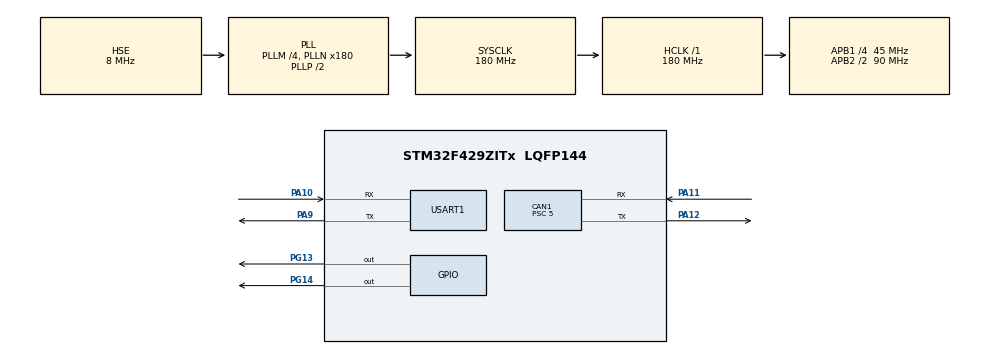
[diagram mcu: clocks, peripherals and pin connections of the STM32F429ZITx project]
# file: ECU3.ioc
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CAN1.BS1=CAN_BS1_9TQ
CAN1.BS2=CAN_BS2_8TQ
CAN1.CalculateBaudRate=500000
CAN1.CalculateTimeBit=2000
CAN1.CalculateTimeQuantum=111.11111111111111
CAN1.NART=ENABLE
CAN1.Prescaler=5
Mcu.Family=STM32F4
Mcu.Name=STM32F429ZITx
Mcu.Package=LQFP144
NVIC.CAN1_RX0_IRQn=true\:0\:0\:false\:false\:true\:true\:true\:true
NVIC.PriorityGroup=NVIC_PRIORITYGROUP_4
PA10.Mode=Asynchronous
PA10.Signal=USART1_RX
PA11.Mode=CAN_Activate
PA11.Signal=CAN1_RX
PA12.Mode=CAN_Activate
PA12.Signal=CAN1_TX
PA9.Mode=Asynchronous
PA9.Signal=USART1_TX
PG13.Signal=GPIO_Output
PG14.Signal=GPIO_Output
PH0/OSC_IN.Mode=HSE-External-Oscillator
PH0/OSC_IN.Signal=RCC_OSC_IN
PH1/OSC_OUT.Mode=HSE-External-Oscillator
PH1/OSC_OUT.Signal=RCC_OSC_OUT
ProjectManager.HeapSize=0x200
ProjectManager.StackSize=0x400
ProjectManager.TargetToolchain=STM32CubeIDE
RCC.48MHZClocksFreq_Value=90000000
RCC.AHBFreq_Value=180000000
RCC.APB1CLKDivider=RCC_HCLK_DIV4
RCC.APB1Freq_Value=45000000
RCC.APB1TimFreq_Value=90000000
RCC.APB2CLKDivider=RCC_HCLK_DIV2
RCC.APB2Freq_Value=90000000
RCC.APB2TimFreq_Value=180000000
RCC.CortexFreq_Value=180000000
RCC.HCLKFreq_Value=180000000
RCC.HSE_VALUE=8000000
RCC.HSI_VALUE=16000000
RCC.LSE_VALUE=32768
RCC.PLLM=4
RCC.PLLN=180
RCC.PLLSourceVirtual=RCC_PLLSOURCE_HSE
RCC.SYSCLKFreq_VALUE=180000000
RCC.SYSCLKSource=RCC_SYSCLKSOURCE_PLLCLK
RCC.VCOOutputFreq_Value=360000000
USART1.VirtualMode=VM_ASYNC
board=custom

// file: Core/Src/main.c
/* USER CODE BEGIN Header */
/**
  ******************************************************************************
  * @file           : main.c
  * @brief          : Main program body
  ******************************************************************************
  * @attention
  *
  * Copyright (c) 2026 STMicroelectronics.
  * All rights reserved.
  *
  * This software is licensed under terms that can be found in the LICENSE file
  * in the root directory of this software component.
  * If no LICENSE file comes with this software, it is provided AS-IS.
  *
  ******************************************************************************
  */
/* USER CODE END Header */
#include "main.h"

CAN_HandleTypeDef hcan1;

UART_HandleTypeDef huart1;

void SystemClock_Config(void);
static void MX_GPIO_Init(void);
static void MX_CAN1_Init(void);
static void MX_USART1_UART_Init(void);

/* USER CODE BEGIN 0 */
CAN_RxHeaderTypeDef RxHeader;
uint32_t TxMailbox;

uint8_t TxData[8], RxData[8];
uint8_t count, temp[100];

uint8_t indicator[8];
uint8_t speed[8];
uint8_t temperature[8];
uint8_t rpm[8];
uint8_t gear[8];
uint8_t time[10];
uint8_t *data[6] = {time, speed, rpm, gear, temp, indicator};

void HAL_CAN_RxFifo0MsgPendingCallback(CAN_HandleTypeDef *hcan){
    if (HAL_CAN_GetRxMessage(hcan, CAN_RX_FIFO0, &RxHeader, RxData) == HAL_OK)
    {
    	HAL_GPIO_TogglePin(GPIOG, GPIO_PIN_13); // Toggle Green LED

    	if (RxHeader.StdId == 0x100) //"temp"
    	{
    		sprintf(temp, "%s", RxData);
    	}
    	else if (RxHeader.StdId == 0x200) //"speed"
    	{
    		sprintf(speed, "%s", RxData);
    	}
    	else if (RxHeader.StdId == 0x300) //"indicator"
    	{
    		sprintf(indicator, "%s", RxData);
    	}
    	else if (RxHeader.StdId == 0x600) //"rpm"
    	{
    		sprintf(rpm, "%s", RxData);
    	}
    	else if (RxHeader.StdId == 0x500) //"time"
    	{
    	    sprintf(time, "%s", RxData);
    	    time[8] = '\0';
    	}
    	else if (RxHeader.StdId == 0x400) //"gear"
    	{
    		sprintf(gear, "%s", RxData);
    	}
    }
}
/* USER CODE END 0 */

int main(void)
{

  /* MCU Configuration--------------------------------------------------------*/

  /* Reset of all peripherals, Initializes the Flash interface and the Systick. */
  HAL_Init();

  /* Configure the system clock */
  SystemClock_Config();

  /* Initialize all configured peripherals */
  MX_GPIO_Init();
  MX_CAN1_Init();
  MX_USART1_UART_Init();
  /* USER CODE BEGIN 2 */
  HAL_CAN_Start(&hcan1);
  HAL_CAN_ActivateNotification(&hcan1, CAN_IT_RX_FIFO0_MSG_PENDING);
  /* USER CODE END 2 */

  /* Infinite loop */
  /* USER CODE BEGIN WHILE */
  uint8_t buf2[100] = "TIME\t\tSPEED\tRPM\tGEAR\tTEMP\tINDICATOR\r\n";
  HAL_UART_Transmit(&huart1,buf2,strlen(buf2),HAL_MAX_DELAY);
while (1)
  {
    /* USER CODE END WHILE */

    /* USER CODE BEGIN 3 */
	for(uint8_t i = 0; i < 6; i++)
	{
		HAL_UART_Transmit(&huart1, data[i], strlen(data[i]), HAL_MAX_DELAY);
		HAL_UART_Transmit(&huart1, "\t", 1, HAL_MAX_DELAY);
	}
	HAL_UART_Transmit(&huart1, "\r", 1, HAL_MAX_DELAY);
	HAL_GPIO_TogglePin(GPIOG, GPIO_PIN_14);   //LED is an indication for data getting transmitted to ECU3.
	HAL_Delay(1000);    //printing every 1 sec
  }
  /* USER CODE END 3 */
}

void SystemClock_Config(void)
{
  RCC_OscInitTypeDef RCC_OscInitStruct = {0};
  RCC_ClkInitTypeDef RCC_ClkInitStruct = {0};

  /** Configure the main internal regulator output voltage
  */
  __HAL_RCC_PWR_CLK_ENABLE();
  __HAL_PWR_VOLTAGESCALING_CONFIG(PWR_REGULATOR_VOLTAGE_SCALE1);

  /** Initializes the RCC Oscillators according to the specified parameters
  * in the RCC_OscInitTypeDef structure.
  */
  RCC_OscInitStruct.OscillatorType = RCC_OSCILLATORTYPE_HSE;
  RCC_OscInitStruct.HSEState = RCC_HSE_ON;
  RCC_OscInitStruct.PLL.PLLState = RCC_PLL_ON;
  RCC_OscInitStruct.PLL.PLLSource = RCC_PLLSOURCE_HSE;
  RCC_OscInitStruct.PLL.PLLM = 4;
  RCC_OscInitStruct.PLL.PLLN = 180;
  RCC_OscInitStruct.PLL.PLLP = RCC_PLLP_DIV2;
  RCC_OscInitStruct.PLL.PLLQ = 4;
  if (HAL_RCC_OscConfig(&RCC_OscInitStruct) != HAL_OK)
  {
    Error_Handler();
  }

  /** Activate the Over-Drive mode
  */
  if (HAL_PWREx_EnableOverDrive() != HAL_OK)
  {
    Error_Handler();
  }

  /** Initializes the CPU, AHB and APB buses clocks
  */
  RCC_ClkInitStruct.ClockType = RCC_CLOCKTYPE_HCLK|RCC_CLOCKTYPE_SYSCLK
                              |RCC_CLOCKTYPE_PCLK1|RCC_CLOCKTYPE_PCLK2;
  RCC_ClkInitStruct.SYSCLKSource = RCC_SYSCLKSOURCE_PLLCLK;
  RCC_ClkInitStruct.AHBCLKDivider = RCC_SYSCLK_DIV1;
  RCC_ClkInitStruct.APB1CLKDivider = RCC_HCLK_DIV4;
  RCC_ClkInitStruct.APB2CLKDivider = RCC_HCLK_DIV2;

  if (HAL_RCC_ClockConfig(&RCC_ClkInitStruct, FLASH_LATENCY_5) != HAL_OK)
  {
    Error_Handler();
  }
}

static void MX_CAN1_Init(void)
{

  hcan1.Instance = CAN1;
  hcan1.Init.Prescaler = 5;
  hcan1.Init.Mode = CAN_MODE_NORMAL;
  hcan1.Init.SyncJumpWidth = CAN_SJW_1TQ;
  hcan1.Init.TimeSeg1 = CAN_BS1_9TQ;
  hcan1.Init.TimeSeg2 = CAN_BS2_8TQ;
  hcan1.Init.TimeTriggeredMode = DISABLE;
  hcan1.Init.AutoBusOff = DISABLE;
  hcan1.Init.AutoWakeUp = DISABLE;
  hcan1.Init.AutoRetransmission = ENABLE;
  hcan1.Init.ReceiveFifoLocked = DISABLE;
  hcan1.Init.TransmitFifoPriority = DISABLE;
  if (HAL_CAN_Init(&hcan1) != HAL_OK)
  {
    Error_Handler();
  }
  /* USER CODE BEGIN CAN1_Init 2 */
  CAN_FilterTypeDef sFilterConfig;

      sFilterConfig.FilterActivation = ENABLE;
      sFilterConfig.FilterBank = 0;
      sFilterConfig.FilterFIFOAssignment = CAN_FILTER_FIFO0;

      // For a 32-bit filter to accept StdId 0x103:
      // The StdId occupies bits [31:21] of the 32-bit register.
      sFilterConfig.FilterIdHigh = 0x0000;
      sFilterConfig.FilterIdLow = 0x0000;

      // To accept ONLY 0x103, set mask to all 1s in those positions (0x7FF << 5)
      // To accept EVERYTHING for testing, set mask to 0
      sFilterConfig.FilterMaskIdHigh = 0x0000;
      sFilterConfig.FilterMaskIdLow = 0x0000;

      sFilterConfig.FilterMode = CAN_FILTERMODE_IDMASK;
      sFilterConfig.FilterScale = CAN_FILTERSCALE_32BIT;
      sFilterConfig.SlaveStartFilterBank = 14;

      if (HAL_CAN_ConfigFilter(&hcan1, &sFilterConfig) != HAL_OK) {
          Error_Handler();
      }
  /* USER CODE END CAN1_Init 2 */

}

static void MX_USART1_UART_Init(void)
{

  huart1.Instance = USART1;
  huart1.Init.BaudRate = 115200;
  huart1.Init.WordLength = UART_WORDLENGTH_8B;
  huart1.Init.StopBits = UART_STOPBITS_1;
  huart1.Init.Parity = UART_PARITY_NONE;
  huart1.Init.Mode = UART_MODE_TX_RX;
  huart1.Init.HwFlowCtl = UART_HWCONTROL_NONE;
  huart1.Init.OverSampling = UART_OVERSAMPLING_16;
  if (HAL_UART_Init(&huart1) != HAL_OK)
  {
    Error_Handler();
  }

}

static void MX_GPIO_Init(void)
{
  GPIO_InitTypeDef GPIO_InitStruct = {0};

  /* GPIO Ports Clock Enable */
  __HAL_RCC_GPIOH_CLK_ENABLE();
  __HAL_RCC_GPIOA_CLK_ENABLE();
  __HAL_RCC_GPIOG_CLK_ENABLE();

  /*Configure GPIO pin Output Level */
  HAL_GPIO_WritePin(GPIOG, GPIO_PIN_13|GPIO_PIN_14, GPIO_PIN_RESET);

  /*Configure GPIO pins : PG13 PG14 */
  GPIO_InitStruct.Pin = GPIO_PIN_13|GPIO_PIN_14;
  GPIO_InitStruct.Mode = GPIO_MODE_OUTPUT_PP;
  GPIO_InitStruct.Pull = GPIO_NOPULL;
  GPIO_InitStruct.Speed = GPIO_SPEED_FREQ_LOW;
  HAL_GPIO_Init(GPIOG, &GPIO_InitStruct);

}

void Error_Handler(void)
{
  __disable_irq();
  while (1)
  {
  }
}
